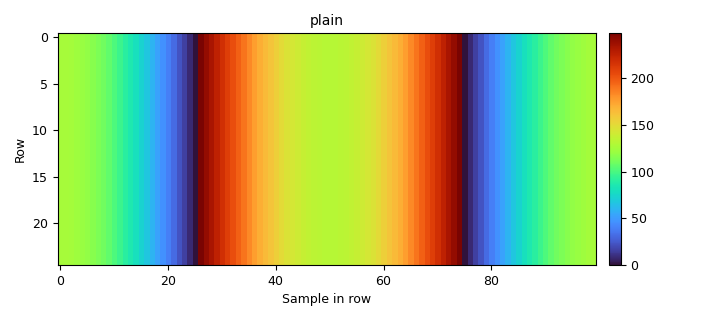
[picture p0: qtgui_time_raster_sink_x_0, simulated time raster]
<?xml version='1.0' encoding='utf-8'?>
<?grc format='1' created='3.7.10'?>
<flow_graph>
<block>
<key>options</key>
<param><key>id</key><value>top_block</value></param>
<param><key>category</key><value>Custom</value></param>
<param><key>generate_options</key><value>qt_gui</value></param>
</block>
<block>
<key>variable</key>
<param><key>id</key><value>key</value></param>
<param><key>value</key><value>crypto.generate_key.make_pass_key(32,password)</value></param>
</block>
<block>
<key>variable</key>
<param><key>id</key><value>password</value></param>
<param><key>value</key><value>"beer"</value></param>
</block>
<block>
<key>variable</key>
<param><key>id</key><value>samp_rate</value></param>
<param><key>value</key><value>100000</value></param>
</block>
<block>
<key>analog_sig_source_x</key>
<param><key>id</key><value>analog_sig_source_x_0</value></param>
<param><key>amp</key><value>1</value></param>
<param><key>freq</key><value>1000</value></param>
<param><key>offset</key><value>0</value></param>
<param><key>type</key><value>float</value></param>
<param><key>samp_rate</key><value>samp_rate</value></param>
<param><key>waveform</key><value>analog.GR_COS_WAVE</value></param>
</block>
<block>
<key>blocks_float_to_char</key>
<param><key>id</key><value>blocks_float_to_char_0</value></param>
<param><key>scale</key><value>125</value></param>
</block>
<block>
<key>blocks_pdu_to_tagged_stream</key>
<param><key>id</key><value>blocks_pdu_to_tagged_stream_0</value></param>
<param><key>type</key><value>byte</value></param>
<param><key>tag</key><value>packet_len</value></param>
</block>
<block>
<key>blocks_pdu_to_tagged_stream</key>
<param><key>id</key><value>blocks_pdu_to_tagged_stream_0_0</value></param>
<param><key>type</key><value>byte</value></param>
<param><key>tag</key><value>packet_len</value></param>
</block>
<block>
<key>blocks_stream_to_tagged_stream</key>
<param><key>id</key><value>blocks_stream_to_tagged_stream_0</value></param>
<param><key>len_tag_key</key><value>"packet_len"</value></param>
<param><key>packet_len</key><value>320</value></param>
<param><key>type</key><value>byte</value></param>
</block>
<block>
<key>blocks_tagged_stream_to_pdu</key>
<param><key>id</key><value>blocks_tagged_stream_to_pdu_0</value></param>
<param><key>type</key><value>byte</value></param>
<param><key>tag</key><value>packet_len</value></param>
</block>
<block>
<key>blocks_throttle</key>
<param><key>id</key><value>blocks_throttle_0</value></param>
<param><key>samples_per_second</key><value>samp_rate</value></param>
<param><key>type</key><value>byte</value></param>
</block>
<block>
<key>crypto_sym_ciph_desc</key>
<param><key>id</key><value>crypto_sym_ciph_desc_0</value></param>
<param><key>ciph_name</key><value>"aes-256-ctr"</value></param>
<param><key>padding</key><value>False</value></param>
<param><key>key</key><value>key</value></param>
</block>
<block>
<key>crypto_sym_dec</key>
<param><key>id</key><value>crypto_sym_dec_0</value></param>
<param><key>ciph_desc</key><value>crypto_sym_ciph_desc_0</value></param>
</block>
<block>
<key>crypto_sym_enc</key>
<param><key>id</key><value>crypto_sym_enc_0</value></param>
<param><key>cipher</key><value>crypto_sym_ciph_desc_0</value></param>
</block>
<block>
<key>qtgui_time_raster_sink_x</key>
<param><key>id</key><value>qtgui_time_raster_sink_x_0</value></param>
<param><key>grid</key><value>True</value></param>
<param><key>zmax</key><value>127</value></param>
<param><key>zmin</key><value>-128</value></param>
<param><key>name</key><value>"plain"</value></param>
<param><key>ncols</key><value>100</value></param>
<param><key>nrows</key><value>25</value></param>
<param><key>samp_rate</key><value>samp_rate</value></param>
<param><key>type</key><value>byte</value></param>
</block>
<block>
<key>qtgui_time_raster_sink_x</key>
<param><key>id</key><value>qtgui_time_raster_sink_x_0_2</value></param>
<param><key>zmax</key><value>127</value></param>
<param><key>zmin</key><value>-128</value></param>
<param><key>name</key><value>"cipher"</value></param>
<param><key>ncols</key><value>100</value></param>
<param><key>nrows</key><value>25</value></param>
<param><key>samp_rate</key><value>samp_rate</value></param>
<param><key>type</key><value>byte</value></param>
</block>
<block>
<key>qtgui_time_raster_sink_x</key>
<param><key>id</key><value>qtgui_time_raster_sink_x_0_3</value></param>
<param><key>zmax</key><value>127</value></param>
<param><key>zmin</key><value>-128</value></param>
<param><key>name</key><value>"decrypted"</value></param>
<param><key>ncols</key><value>100</value></param>
<param><key>nrows</key><value>25</value></param>
<param><key>samp_rate</key><value>samp_rate</value></param>
<param><key>type</key><value>byte</value></param>
</block>
<connection><source_block_id>analog_sig_source_x_0</source_block_id><sink_block_id>blocks_float_to_char_0</sink_block_id><source_key>0</source_key><sink_key>0</sink_key></connection>
<connection><source_block_id>blocks_float_to_char_0</source_block_id><sink_block_id>blocks_throttle_0</sink_block_id><source_key>0</source_key><sink_key>0</sink_key></connection>
<connection><source_block_id>blocks_pdu_to_tagged_stream_0</source_block_id><sink_block_id>qtgui_time_raster_sink_x_0_3</sink_block_id><source_key>0</source_key><sink_key>0</sink_key></connection>
<connection><source_block_id>blocks_pdu_to_tagged_stream_0_0</source_block_id><sink_block_id>qtgui_time_raster_sink_x_0_2</sink_block_id><source_key>0</source_key><sink_key>0</sink_key></connection>
<connection><source_block_id>blocks_stream_to_tagged_stream_0</source_block_id><sink_block_id>blocks_tagged_stream_to_pdu_0</sink_block_id><source_key>0</source_key><sink_key>0</sink_key></connection>
<connection><source_block_id>blocks_stream_to_tagged_stream_0</source_block_id><sink_block_id>qtgui_time_raster_sink_x_0</sink_block_id><source_key>0</source_key><sink_key>0</sink_key></connection>
<connection><source_block_id>blocks_tagged_stream_to_pdu_0</source_block_id><sink_block_id>crypto_sym_enc_0</sink_block_id><source_key>pdus</source_key><sink_key>pdus</sink_key></connection>
<connection><source_block_id>blocks_throttle_0</source_block_id><sink_block_id>blocks_stream_to_tagged_stream_0</sink_block_id><source_key>0</source_key><sink_key>0</sink_key></connection>
<connection><source_block_id>crypto_sym_dec_0</source_block_id><sink_block_id>blocks_pdu_to_tagged_stream_0</sink_block_id><source_key>pdus</source_key><sink_key>pdus</sink_key></connection>
<connection><source_block_id>crypto_sym_enc_0</source_block_id><sink_block_id>blocks_pdu_to_tagged_stream_0_0</sink_block_id><source_key>pdus</source_key><sink_key>pdus</sink_key></connection>
<connection><source_block_id>crypto_sym_enc_0</source_block_id><sink_block_id>crypto_sym_dec_0</sink_block_id><source_key>pdus</source_key><sink_key>pdus</sink_key></connection>
</flow_graph>
